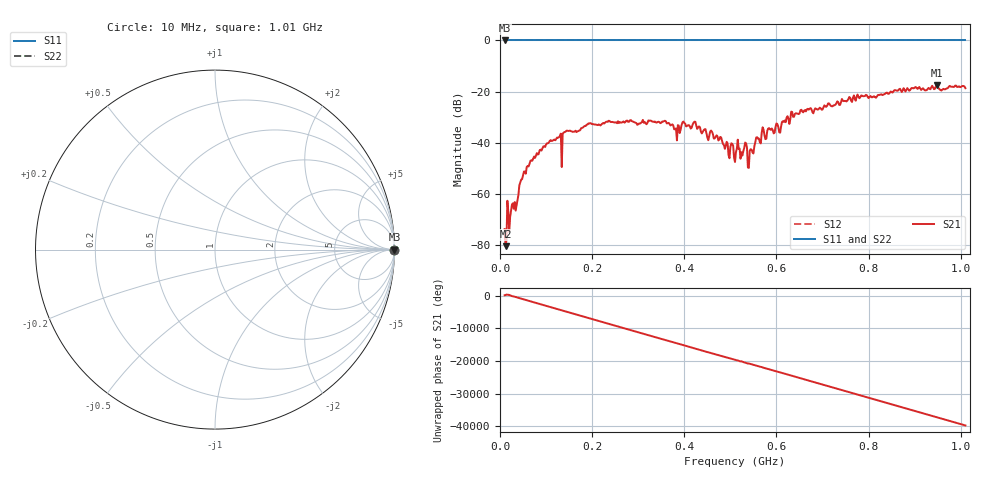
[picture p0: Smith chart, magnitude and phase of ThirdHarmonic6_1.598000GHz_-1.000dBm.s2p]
! 8/16/2025 7:03:04 PM
! C:\ANRITSUVNA\TEMP\TEMP.S2P
! CHANNEL.1
! TR.MEASUREMENT
! RAW.DATA
! RF.CORRECTION.OFF
! AVERAGING.OFF
! IF.BANDWIDTH: 5KHZ
! SWEEPTYPE:  FREQ.SWEEP(Linear)
! Reference Plane Port Info
! PORT:  PORT1  PORT2
! DISTANCE:  0  m  0  m
! TIME:  0  s  0  s
! PHASE.OFFSET:  0  deg.  0  deg.
! LOSS:  0  dB  0  dB
! REF.LOSS:  0  dB  0  dB
! REF.FREQ:  0  Hz  0  Hz
! Power Info
! POWER:  -20  dBm  -20  dBm
! EFF.POWER:  -20  dBm  -20  dBm
! SOURCE.ATTEN:  0  dB  0  dB
! TEST.ATTEN:  0  dB  0  dB
# GHZ S RI R 50.0
! FREQ.GHZ  S11RE  S11IM  S21RE  S21IM  S12RE  S12IM  S22RE  S22IM
!; PortSelection: Port_12
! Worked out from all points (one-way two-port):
!   501 points, 10 MHz to 1.01 GHz, reference 50 ohm
!   highest |S21| = -17.47 dB at 948 MHz (marker M1); lowest = -80.6 dB at 12 MHz (marker M2)
!   lowest |S11| = 0.0 dB at 10 MHz (marker M3)
!   |S11| at or under -10 dB: nowhere
!   |S22| runs from 0.0 to 0.0 dB; largest |S21 - S12| = 1.1
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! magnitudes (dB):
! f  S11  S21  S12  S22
! 10 MHz  0.0  -73.9  0.0  0.0
! 12 MHz  0.0  -80.6  0.0  0.0
! 20 MHz  0.0  -75.0  0.0  0.0
! 36 MHz  0.0  -64.5  0.0  0.0
! 48 MHz  0.0  -54.3  0.0  0.0
! 70 MHz  0.0  -47.1  0.0  0.0
! 106 MHz  0.0  -40.0  0.0  0.0
! 178 MHz  0.0  -34.3  0.0  0.0
! 344 MHz  0.0  -31.9  0.0  0.0
! 388 MHz  0.0  -33.4  0.0  0.0
! 398 MHz  0.0  -31.8  0.0  0.0
! 422 MHz  0.0  -31.8  0.0  0.0
! 510 MHz  0.0  -47.6  0.0  0.0
! 532 MHz  0.0  -40.0  0.0  0.0
! 542 MHz  0.0  -43.2  0.0  0.0
! 556 MHz  0.0  -38.0  0.0  0.0
! 572 MHz  0.0  -34.9  0.0  0.0
! 636 MHz  0.0  -29.9  0.0  0.0
! 678 MHz  0.0  -28.0  0.0  0.0
! 844 MHz  0.0  -20.9  0.0  0.0
! 948 MHz  0.0  -17.5  0.0  0.0
! 1.01 GHz  0.0  -18.7  0.0  0.0
